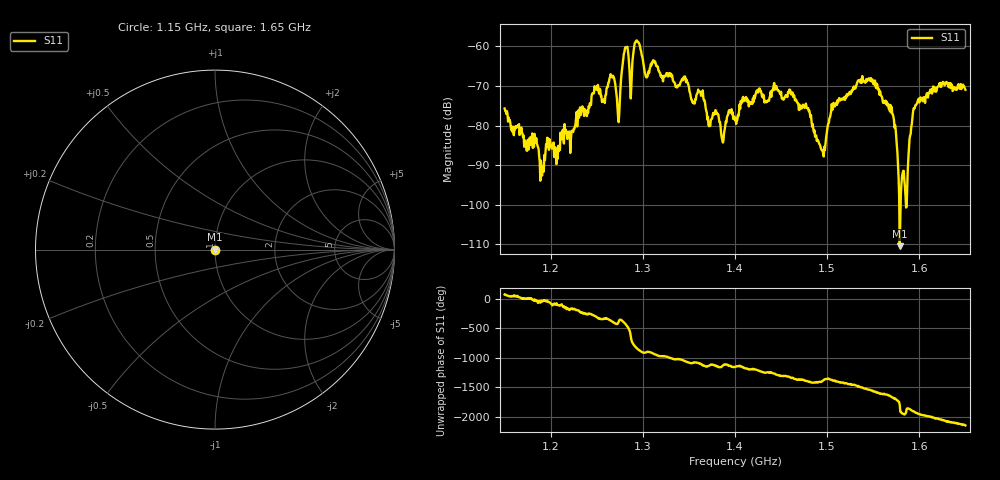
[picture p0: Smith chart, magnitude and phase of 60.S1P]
! C:\Users\rflab\Downloads\Lab5_KD_ZW\Q2\60.S1P
! Touchstone 1.1 file saved by VNA.EXE V1.65 (www.ke5fx.com/gpib/readme.htm)
! 11/12/2024 1:18:13 AM
!  Source: HEWLETT PACKARD,8753D,0,6.14
!  Min freq: 1.150000E+009 Hz
!  Max freq: 1.650000E+009 Hz
!  Points: 801
!  Params: S21
# GHZ S RI R 50
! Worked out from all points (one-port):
!   801 points, 1.15 GHz to 1.65 GHz, reference 50 ohm
!   lowest |S11| = -110.5 dB at 1.579 GHz (marker M1), VSWR 1.00, Z = 50 + j0 ohm
!   |S11| at or under -10 dB: start of sweep to end of sweep
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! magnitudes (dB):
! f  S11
! 1.15 GHz  -75.7
! 1.159 GHz  -80.3
! 1.212 GHz  -82.1
! 1.239 GHz  -77.4
! 1.249 GHz  -70.5
! 1.258 GHz  -73.8
! 1.266 GHz  -67.5
! 1.272 GHz  -75.6
! 1.275 GHz  -73.8
! 1.281 GHz  -60.4
! 1.287 GHz  -73.2
! 1.294 GHz  -58.5
! 1.304 GHz  -67.8
! 1.312 GHz  -64.1
! 1.337 GHz  -70.3
! 1.355 GHz  -74.4
! 1.363 GHz  -71.6
! 1.373 GHz  -79.7
! 1.4 GHz  -78.6
! 1.426 GHz  -71.4
! 1.462 GHz  -71.6
! 1.498 GHz  -84.7
! 1.525 GHz  -72.0
! 1.549 GHz  -68.4
! 1.579 GHz  -110.5
! 1.587 GHz  -91.0
! 1.613 GHz  -70.9
! 1.65 GHz  -71.0
